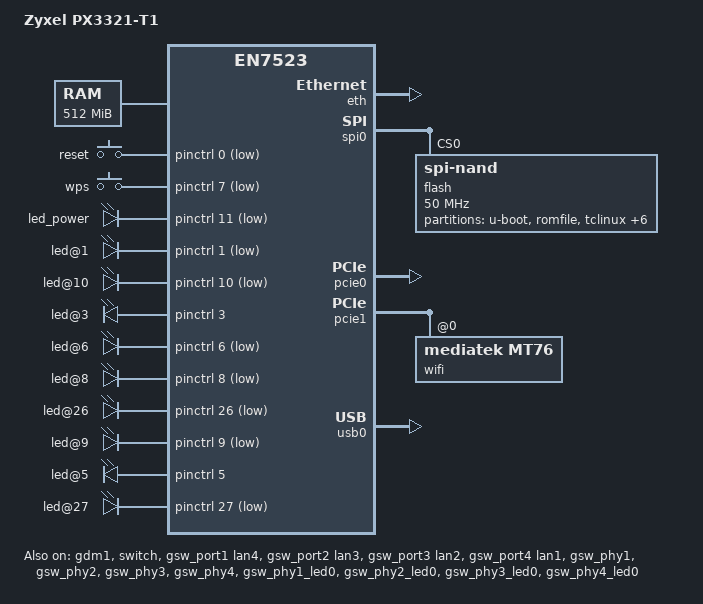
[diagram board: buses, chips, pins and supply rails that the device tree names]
// SPDX-License-Identifier: GPL-2.0-or-later OR MIT
/dts-v1/;

#include <dt-bindings/leds/common.h>
#include <dt-bindings/gpio/gpio.h>
#include <dt-bindings/input/input.h>
#include "en7523.dtsi"

/ {
	model = "Zyxel PX3321-T1";
	compatible = "zyxel,px3321-t1", "airoha,en7523";

	chosen {
		bootargs = "console=ttyS0,115200n8 earlycon=uart8250,mmio32,0x1fbf0000,115200n8";
		stdout-path = "serial0:115200n8";

		/* Whole-bank FIT images are flashed to tclinux_slave */
		rootdisk = <&tclinux_slave>;

		/* First 2 MiB is boot-firmware territory; Linux DRAM base
		 * starts at 0x80200000 (TEXT_OFFSET applies on top of it).
		 */
		linux,usable-memory-range = <0x80200000 0x1fe00000>;
	};

	aliases {
		serial0 = &uart1;
		led-boot = &led_power;
		led-failsafe = &led_power;
		led-upgrade = &led_power;
		led-running = &led_power;
	};

	memory@80000000 {
		device_type = "memory";
		reg = <0x80000000 0x20000000>;
	};

	keys {
		compatible = "gpio-keys";

		reset {
			label = "reset";
			linux,code = <KEY_RESTART>;
			gpios = <&pinctrl 0 GPIO_ACTIVE_LOW>;
			debounce-interval = <60>;
		};

		wps {
			label = "wps";
			linux,code = <KEY_WPS_BUTTON>;
			gpios = <&pinctrl 7 GPIO_ACTIVE_LOW>;
			debounce-interval = <60>;
		};
	};

	leds {
		compatible = "gpio-leds";

		led_power: led@11 {
			gpios = <&pinctrl 11 GPIO_ACTIVE_LOW>;
			function = LED_FUNCTION_POWER;
		};

		led@1 {
			gpios = <&pinctrl 1 GPIO_ACTIVE_LOW>;
			function = LED_FUNCTION_WAN_ONLINE;
		};

		led@10 {
			gpios = <&pinctrl 10 GPIO_ACTIVE_LOW>;
			function = "xpon";
		};

		led@3 {
			gpios = <&pinctrl 3 GPIO_ACTIVE_HIGH>;
			function = "xpon-los";
		};

		led@6 {
			gpios = <&pinctrl 6 GPIO_ACTIVE_LOW>;
			function = LED_FUNCTION_WLAN;
		};

		led@8 {
			gpios = <&pinctrl 8 GPIO_ACTIVE_LOW>;
			function = LED_FUNCTION_WLAN;
			function-enumerator = <5>;
		};

		led@26 {
			gpios = <&pinctrl 26 GPIO_ACTIVE_LOW>;
			function = LED_FUNCTION_WPS;
		};

		led@9 {
			gpios = <&pinctrl 9 GPIO_ACTIVE_LOW>;
			function = LED_FUNCTION_WPS;
			function-enumerator = <5>;
		};

		led@5 {
			gpios = <&pinctrl 5 GPIO_ACTIVE_HIGH>;
			function = "voip";
		};

		led@27 {
			gpios = <&pinctrl 27 GPIO_ACTIVE_LOW>;
			function = LED_FUNCTION_USB;
		};
	};
};

&eth {
	status = "okay";
};

&gdm1 {
	status = "okay";
};

&switch {
	status = "okay";
};

&gsw_port1 {
	label = "lan4";
	status = "okay";
};

&gsw_port2 {
	label = "lan3";
	status = "okay";
};

&gsw_port3 {
	label = "lan2";
	status = "okay";
};

&gsw_port4 {
	label = "lan1";
	status = "okay";
};

&gsw_phy1 {
	status = "okay";
};

&gsw_phy2 {
	status = "okay";
};

&gsw_phy3 {
	status = "okay";
};

&gsw_phy4 {
	status = "okay";
};

&gsw_phy1_led0 {
	status = "okay";
};

&gsw_phy2_led0 {
	status = "okay";
};

&gsw_phy3_led0 {
	status = "okay";
};

&gsw_phy4_led0 {
	status = "okay";
};

&spi0 {
	flash@0 {
		reg = <0>;
		compatible = "spi-nand";
		spi-max-frequency = <50000000>;
		spi-tx-bus-width = <1>;
		spi-rx-bus-width = <2>;

		partitions {
			compatible = "fixed-partitions";
			#address-cells = <1>;
			#size-cells = <1>;

			partition@0 {
				label = "u-boot";
				reg = <0x0 0x80000>;
				read-only;
			};

			partition@80000 {
				label = "romfile";
				reg = <0x80000 0x40000>;
				read-only;
			};

			tclinux@c0000 {
				label = "tclinux";
				reg = <0xc0000 0x3000000>;
			};

			tclinux_slave: tclinux_slave@30c0000 {
				label = "tclinux_slave";
				reg = <0x30c0000 0x3100000>;
			};

			partition@61c0000 {
				label = "wwan";
				reg = <0x61c0000 0x100000>;
			};

			partition@62c0000 {
				label = "data";
				reg = <0x62c0000 0x400000>;
			};

			partition@66c0000 {
				label = "rom-d";
				reg = <0x66c0000 0x100000>;
			};

			partition@67c0000 {
				label = "rootfs_data";
				reg = <0x67c0000 0x7600000>;
			};

			reservearea: partition@ddc0000 {
				label = "reservearea";
				reg = <0xddc0000 0x240000>;
			};

		};
	};
};

&pcie0 {
	status = "okay";
};

&pcie1 {
	status = "okay";

	pcie@1,0 {
		device_type = "pci";
		reg = <0x0800 0 0 0 0>;
		#address-cells = <3>;
		#size-cells = <2>;
		ranges;

		wifi@0,0 {
			compatible = "mediatek,mt76";
			reg = <0x0000 0 0 0 0>;
			mediatek,mtd-eeprom = <&reservearea 0x4c000>;
		};
	};
};

&usb0 {
	status = "okay";
};
